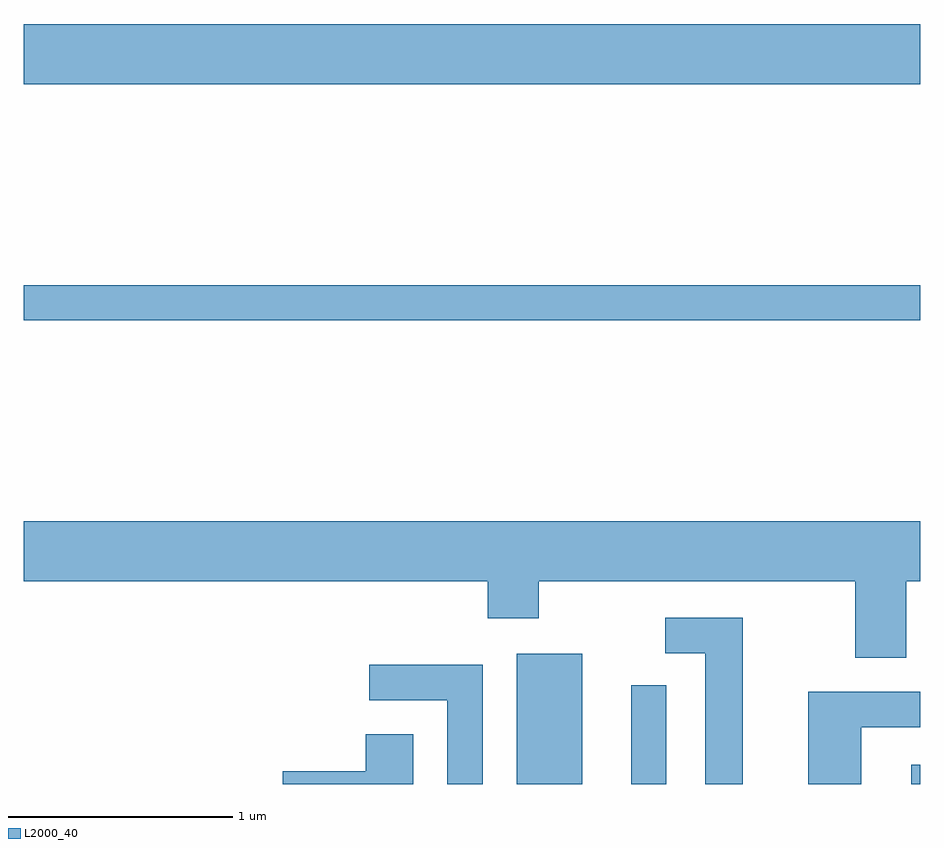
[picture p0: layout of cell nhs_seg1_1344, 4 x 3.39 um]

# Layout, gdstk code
import gdstk
lib = gdstk.Library(unit=1e-6, precision=1e-09)
def R(c, l, rs):  # rectangles x0, y0, x1, y1
    for r in rs: c.add(gdstk.rectangle(r[:2], r[2:], *l))
def P(c, l, *ps):  # polygons
    for p in ps: c.add(gdstk.Polygon(p, *l))
L2000_40 = (2000, 40)

nhs_seg1_1344 = lib.new_cell('nhs_seg1_1344')
R(nhs_seg1_1344, L2000_40, [(227.811,969.712,228.104,970.294), (228.321,969.712,228.479,970.153), (229.571,969.712,229.611,969.798), (225.611,971.781,229.611,971.939), (225.611,972.836,229.611,973.104)])
P(nhs_seg1_1344, L2000_40, [(229.549,970.616),(229.611,970.616),(229.611,970.884),(225.611,970.884),(225.611,970.616),(227.681,970.616),(227.681,970.451),(227.909,970.451),(227.909,970.616),(229.321,970.616),(229.321,970.276),(229.549,970.276)],
  [(228.819,970.454),(228.473,970.454),(228.473,970.296),(228.651,970.296),(228.651,969.712),(228.819,969.712)],
  [(227.659,970.244),(227.153,970.244),(227.153,970.086),(227.501,970.086),(227.501,969.712),(227.659,969.712)],
  [(229.349,969.966),(229.611,969.966),(229.611,970.124),(229.111,970.124),(229.111,969.712),(229.349,969.712)],
  [(227.349,969.934),(227.136,969.934),(227.136,969.769),(226.766,969.769),(226.766,969.712),(227.349,969.712)])

lib.write_gds('nhs_seg1_1344.gds')
